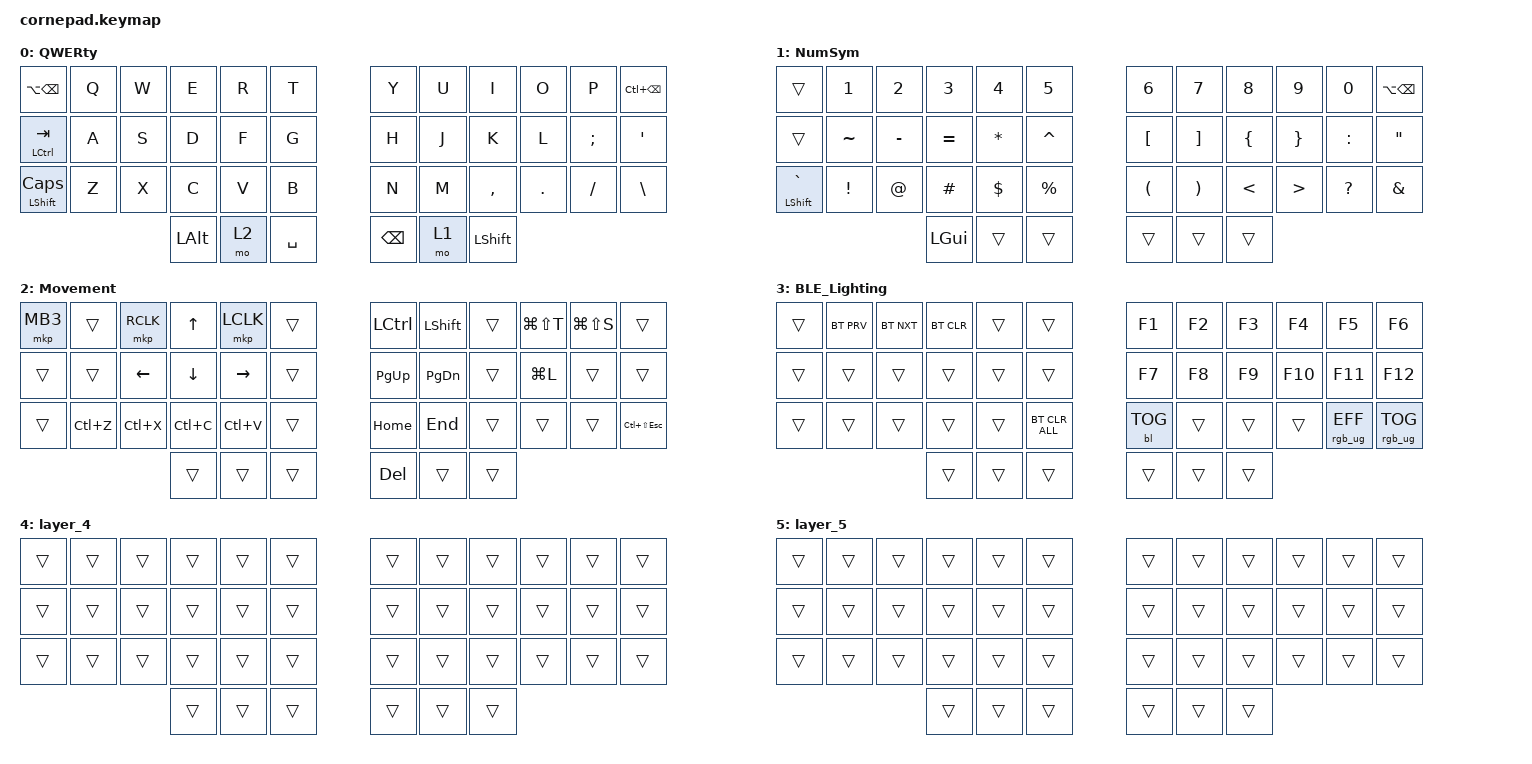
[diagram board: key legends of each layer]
/*
 * Copyright (c) 2020 The ZMK Contributors
 *
 * SPDX-License-Identifier: MIT
 */

#include <behaviors.dtsi>
#include <dt-bindings/zmk/backlight.h>
#include <dt-bindings/zmk/bt.h>
#include <dt-bindings/zmk/keys.h>
#include <dt-bindings/zmk/pointing.h>
#include <dt-bindings/zmk/rgb.h>

/ {
    combos {
        compatible = "zmk,combos";

        enter {
            bindings = <&kp ENTER>;
            key-positions = <19 20 21>;
        };

        esc {
            bindings = <&kp ESCAPE>;
            key-positions = <1 2>;
        };

        enye {
            bindings = <&kp RA(N)>;
            key-positions = <30 20>;
        };

        folder {
            bindings = <&kp LG(E)>;
            key-positions = <37 3 2>;
        };

        mac_copy {
            bindings = <&kp LG(C)>;
            key-positions = <27 26>;
        };

        mac_paste {
            bindings = <&kp LG(V)>;
            key-positions = <27 28>;
        };
    };

    keymap {
        compatible = "zmk,keymap";

        QWERty {
            // -----------------------------------------------------------------------------------------
            // |  TAB |  Q  |  W  |  E  |  R  |  T  |   |  Y  |  U   |  I  |  O  |  P  | BSPC |
            // | CTRL |  A  |  S  |  D  |  F  |  G  |   |  H  |  J   |  K  |  L  |  ;  |  '   |
            // | SHFT |  Z  |  X  |  C  |  V  |  B  |   |  N  |  M   |  ,  |  .  |  /  | ESC  |
            //                    | GUI | LWR | SPC |   | ENT | RSE  | ALT |

            bindings = <
&kp LA(BACKSPACE)   &kp Q  &kp W  &kp E         &kp R  &kp T        &kp Y          &kp U  &kp I           &kp O    &kp P     &kp LC(BSPC)
&mt LCTRL TAB       &kp A  &kp S  &kp D         &kp F  &kp G        &kp H          &kp J  &kp K           &kp L    &kp SEMI  &kp SQT
&mt LSHFT CAPSLOCK  &kp Z  &kp X  &kp C         &kp V  &kp B        &kp N          &kp M  &kp COMMA       &kp DOT  &kp FSLH  &kp BACKSLASH
                                  &kp LEFT_ALT  &mo 2  &kp SPACE    &kp BACKSPACE  &mo 1  &kp LEFT_SHIFT
            >;

            label = "QWERty";
        };

        NumSym {
            // -----------------------------------------------------------------------------------------
            // |  TAB |  1  |  2  |  3  |  4  |  5  |   |  6  |  7  |  8  |  9  |  0  | BSPC |
            // | BTCLR| BT1 | BT2 | BT3 | BT4 | BT5 |   | LFT | DWN |  UP | RGT |     |      |
            // | SHFT |     |     |     |     |     |   |     |     |     |     |     |      |
            //                    | GUI |     | SPC |   | ENT |     | ALT |

            bindings = <
&trans                &kp N1     &kp N2     &kp N3        &kp N4      &kp N5         &kp N6                &kp N7                 &kp N8          &kp N9            &kp N0        &kp LA(BSPC)
&trans                &kp TILDE  &kp MINUS  &kp EQUAL     &kp ASTRK   &kp CARET      &kp LEFT_BRACKET      &kp RIGHT_BRACKET      &kp LEFT_BRACE  &kp RIGHT_BRACE   &kp COLON     &kp DOUBLE_QUOTES
&mt LEFT_SHIFT GRAVE  &kp EXCL   &kp AT     &kp HASH      &kp DOLLAR  &kp PERCENT    &kp LEFT_PARENTHESIS  &kp RIGHT_PARENTHESIS  &kp LESS_THAN   &kp GREATER_THAN  &kp QUESTION  &kp AMPERSAND
                                            &kp LEFT_GUI  &trans      &trans         &trans                &trans                 &trans
            >;

            label = "NumSym";
        };

        Movement {
            // -----------------------------------------------------------------------------------------
            // |  TAB |  !  |  @  |  #  |  $  |  %  |   |  ^  |  &  |  *  |  (  |  )  | BSPC |
            // | CTRL |     |     |     |     |     |   |  -  |  =  |  [  |  ]  |  \  |  `   |
            // | SHFT |     |     |     |     |     |   |  _  |  +  |  {  |  }  | "|" |  ~   |
            //                    | GUI |     | SPC |   | ENT |     | ALT |

            bindings = <
&mkp MB3  &trans     &mkp RCLK  &kp UP     &mkp LCLK  &trans    &kp LEFT_CONTROL  &kp LEFT_SHIFT  &trans  &kp LG(LS(T))  &kp LG(LS(S))  &trans
&trans    &trans     &kp LEFT   &kp DOWN   &kp RIGHT  &trans    &kp PG_UP         &kp PG_DN       &trans  &kp LG(L)      &trans         &trans
&trans    &kp LC(Z)  &kp LC(X)  &kp LC(C)  &kp LC(V)  &trans    &kp HOME          &kp END         &trans  &trans         &trans         &kp LC(LS(ESCAPE))
                                &trans     &trans     &trans    &kp DEL           &trans          &trans
            >;

            label = "Movement";
        };

        BLE_Lighting {
            bindings = <
&trans  &bt BT_PRV  &bt BT_NXT  &bt BT_CLR  &trans  &trans            &kp F1      &kp F2  &kp F3  &kp F4   &kp F5           &kp F6
&trans  &trans      &trans      &trans      &trans  &trans            &kp F7      &kp F8  &kp F9  &kp F10  &kp F11          &kp F12
&trans  &trans      &trans      &trans      &trans  &bt BT_CLR_ALL    &bl BL_TOG  &trans  &trans  &trans   &rgb_ug RGB_EFF  &rgb_ug RGB_TOG
                                &trans      &trans  &trans            &trans      &trans  &trans
            >;

            label = "BLE_Lighting";
        };

        layer_4 {
            bindings = <
&trans  &trans  &trans  &trans  &trans  &trans    &trans  &trans  &trans  &trans  &trans  &trans
&trans  &trans  &trans  &trans  &trans  &trans    &trans  &trans  &trans  &trans  &trans  &trans
&trans  &trans  &trans  &trans  &trans  &trans    &trans  &trans  &trans  &trans  &trans  &trans
                        &trans  &trans  &trans    &trans  &trans  &trans
            >;
        };

        layer_5 {
            bindings = <
&trans  &trans  &trans  &trans  &trans  &trans    &trans  &trans  &trans  &trans  &trans  &trans
&trans  &trans  &trans  &trans  &trans  &trans    &trans  &trans  &trans  &trans  &trans  &trans
&trans  &trans  &trans  &trans  &trans  &trans    &trans  &trans  &trans  &trans  &trans  &trans
                        &trans  &trans  &trans    &trans  &trans  &trans
            >;
        };
    };

    conditional_layers {
        compatible = "zmk,conditional-layers";

        BLE {
            if-layers = <1 2>;
            then-layer = <3>;
        };
    };
};
